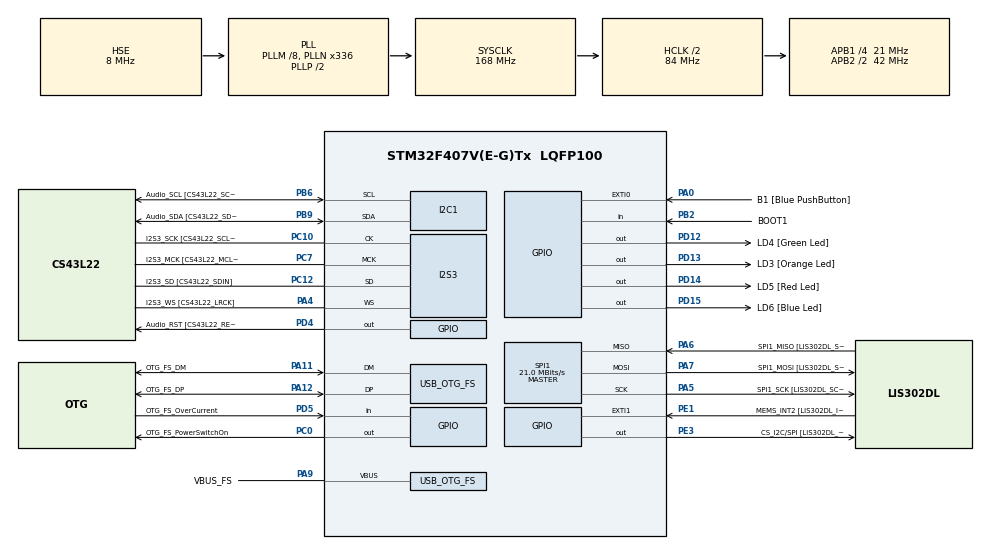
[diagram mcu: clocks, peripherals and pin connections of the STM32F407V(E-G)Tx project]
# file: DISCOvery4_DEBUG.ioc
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I2S3.AudioFreq-Half_Duplex_Master=I2S_AUDIOFREQ_96K
I2S3.ErrorAudioFreq=-2.34 %
I2S3.ErrorAudioFreq-Half_Duplex_Master=0.8 %
I2S3.FullDuplexMode=I2S_FULLDUPLEXMODE_DISABLE
I2S3.Instance=SPI$Index
I2S3.RealAudioFreq=93.75 KHz
I2S3.RealAudioFreq-Half_Duplex_Master=96.774 KHz
I2S3.VirtualMode=I2S_MODE_MASTER
Mcu.Family=STM32F4
Mcu.Name=STM32F407V(E-G)Tx
Mcu.Package=LQFP100
NVIC.OTG_FS_IRQn=true\:0\:0\:false\:false\:true\:true\:true\:true
NVIC.PriorityGroup=NVIC_PRIORITYGROUP_0
PA0-WKUP.GPIO_Label=B1 [Blue PushButton]
PA0-WKUP.GPIO_ModeDefaultEXTI=GPIO_MODE_EVT_RISING
PA0-WKUP.GPIO_PuPd=GPIO_PULLDOWN
PA0-WKUP.Signal=GPXTI0
PA10.GPIO_Label=OTG_FS_ID
PA10.GPIO_Mode=GPIO_MODE_AF_PP
PA10.GPIO_PuPd=GPIO_NOPULL
PA10.GPIO_Speed=GPIO_SPEED_FREQ_LOW
PA10.Signal=USB_OTG_FS_ID
PA11.GPIO_Label=OTG_FS_DM
PA11.GPIO_Mode=GPIO_MODE_AF_PP
PA11.GPIO_PuPd=GPIO_NOPULL
PA11.GPIO_Speed=GPIO_SPEED_FREQ_LOW
PA11.Mode=Host_Only
PA11.Signal=USB_OTG_FS_DM
PA12.GPIO_Label=OTG_FS_DP
PA12.GPIO_Mode=GPIO_MODE_AF_PP
PA12.GPIO_PuPd=GPIO_NOPULL
PA12.GPIO_Speed=GPIO_SPEED_FREQ_LOW
PA12.Mode=Host_Only
PA12.Signal=USB_OTG_FS_DP
PA13.GPIO_Label=SWDIO
PA13.Mode=Serial_Wire
PA13.Signal=SYS_JTMS-SWDIO
PA14.GPIO_Label=SWCLK
PA14.Mode=Serial_Wire
PA14.Signal=SYS_JTCK-SWCLK
PA4.GPIO_Label=I2S3_WS [CS43L22_LRCK]
PA4.GPIO_Mode=GPIO_MODE_AF_PP
PA4.GPIO_PuPd=GPIO_NOPULL
PA4.GPIO_Speed=GPIO_SPEED_FREQ_LOW
PA4.Mode=Half_Duplex_Master
PA4.Signal=I2S3_WS
PA5.GPIO_Label=SPI1_SCK [LIS302DL_SCL/SPC]
PA5.GPIO_Mode=GPIO_MODE_AF_PP
PA5.GPIO_PuPd=GPIO_NOPULL
PA5.GPIO_Speed=GPIO_SPEED_FREQ_LOW
PA5.Mode=Full_Duplex_Master
PA5.Signal=SPI1_SCK
PA6.GPIO_Label=SPI1_MISO [LIS302DL_SDO]
PA6.GPIO_Mode=GPIO_MODE_AF_PP
PA6.GPIO_PuPd=GPIO_NOPULL
PA6.GPIO_Speed=GPIO_SPEED_FREQ_LOW
PA6.Mode=Full_Duplex_Master
PA6.Signal=SPI1_MISO
PA7.GPIO_Label=SPI1_MOSI [LIS302DL_SDA/SDI/SDO]
PA7.GPIO_Mode=GPIO_MODE_AF_PP
PA7.GPIO_PuPd=GPIO_NOPULL
PA7.GPIO_Speed=GPIO_SPEED_FREQ_LOW
PA7.Mode=Full_Duplex_Master
PA7.Signal=SPI1_MOSI
PA9.GPIO_Label=VBUS_FS
PA9.GPIO_Mode=GPIO_MODE_INPUT
PA9.GPIO_PuPd=GPIO_NOPULL
PA9.Mode=Activate_VBUS
PA9.Signal=USB_OTG_FS_VBUS
PB10.GPIO_Label=CLK_IN [MP45DT02_CLK]
PB10.GPIO_Mode=GPIO_MODE_AF_PP
PB10.GPIO_PuPd=GPIO_NOPULL
PB10.GPIO_Speed=GPIO_SPEED_FREQ_LOW
PB10.Signal=I2S2_CK
PB2.GPIO_Label=BOOT1
PB2.GPIO_Mode=GPIO_MODE_INPUT
PB2.GPIO_PuPd=GPIO_NOPULL
PB2.Signal=GPIO_Input
PB3.GPIO_Label=SWO
PB3.Signal=SYS_JTDO-SWO
PB6.GPIO_Label=Audio_SCL [CS43L22_SCL]
PB6.GPIO_Mode=GPIO_MODE_AF_OD
PB6.GPIO_Pu=GPIO_PULLUP
PB6.GPIO_PuPd=GPIO_NOPULL
PB6.GPIO_Speed=GPIO_SPEED_FREQ_LOW
PB6.Mode=I2C
PB6.Signal=I2C1_SCL
PB9.GPIO_Label=Audio_SDA [CS43L22_SDA]
PB9.GPIO_Mode=GPIO_MODE_AF_OD
PB9.GPIO_Pu=GPIO_PULLUP
PB9.GPIO_PuPd=GPIO_NOPULL
PB9.GPIO_Speed=GPIO_SPEED_FREQ_LOW
PB9.Mode=I2C
PB9.Signal=I2C1_SDA
PC0.GPIO_Label=OTG_FS_PowerSwitchOn
PC0.GPIO_PuPd=GPIO_NOPULL
PC0.GPIO_Speed=GPIO_SPEED_FREQ_LOW
PC0.PinState=GPIO_PIN_SET
PC0.Signal=GPIO_Output
PC10.GPIO_Label=I2S3_SCK [CS43L22_SCLK]
PC10.GPIO_Mode=GPIO_MODE_AF_PP
PC10.GPIO_PuPd=GPIO_NOPULL
PC10.GPIO_Speed=GPIO_SPEED_FREQ_LOW
PC10.Mode=Half_Duplex_Master
PC10.Signal=I2S3_CK
PC12.GPIO_Label=I2S3_SD [CS43L22_SDIN]
PC12.GPIO_Mode=GPIO_MODE_AF_PP
PC12.GPIO_PuPd=GPIO_NOPULL
PC12.GPIO_Speed=GPIO_SPEED_FREQ_LOW
PC12.Mode=Half_Duplex_Master
PC12.Signal=I2S3_SD
PC14-OSC32_IN.GPIO_Label=PC14-OSC32_IN
PC14-OSC32_IN.Mode=LSE-External-Oscillator
PC14-OSC32_IN.Signal=RCC_OSC32_IN
PC15-OSC32_OUT.GPIO_Label=PC15-OSC32_OUT
PC15-OSC32_OUT.Mode=LSE-External-Oscillator
PC15-OSC32_OUT.Signal=RCC_OSC32_OUT
PC3.GPIO_Label=PDM_OUT [MP45DT02_DOUT]
PC3.GPIO_Mode=GPIO_MODE_AF_PP
PC3.GPIO_PuPd=GPIO_NOPULL
PC3.GPIO_Speed=GPIO_SPEED_FREQ_LOW
PC3.Signal=I2S2_SD
PC7.GPIO_Label=I2S3_MCK [CS43L22_MCLK]
PC7.GPIO_Mode=GPIO_MODE_AF_PP
PC7.GPIO_PuPd=GPIO_NOPULL
PC7.GPIO_Speed=GPIO_SPEED_FREQ_LOW
PC7.Mode=Master_Clock_Activated
PC7.Signal=I2S3_MCK
PD12.GPIO_Label=LD4 [Green Led]
PD12.GPIO_PuPd=GPIO_NOPULL
PD12.GPIO_Speed=GPIO_SPEED_FREQ_LOW
PD12.Signal=GPIO_Output
PD13.GPIO_Label=LD3 [Orange Led]
PD13.GPIO_PuPd=GPIO_NOPULL
PD13.GPIO_Speed=GPIO_SPEED_FREQ_LOW
PD13.Signal=GPIO_Output
PD14.GPIO_Label=LD5 [Red Led]
PD14.GPIO_PuPd=GPIO_NOPULL
PD14.GPIO_Speed=GPIO_SPEED_FREQ_LOW
PD14.Signal=GPIO_Output
PD15.GPIO_Label=LD6 [Blue Led]
PD15.GPIO_PuPd=GPIO_NOPULL
PD15.GPIO_Speed=GPIO_SPEED_FREQ_LOW
PD15.Signal=GPIO_Output
PD4.GPIO_Label=Audio_RST [CS43L22_RESET]
PD4.GPIO_PuPd=GPIO_NOPULL
PD4.GPIO_Speed=GPIO_SPEED_FREQ_LOW
PD4.Signal=GPIO_Output
PD5.GPIO_Label=OTG_FS_OverCurrent
PD5.GPIO_Mode=GPIO_MODE_INPUT
PD5.GPIO_PuPd=GPIO_NOPULL
PD5.Signal=GPIO_Input
PE1.GPIO_Label=MEMS_INT2 [LIS302DL_INT2]
PE1.GPIO_ModeDefaultEXTI=GPIO_MODE_EVT_RISING
PE1.GPIO_PuPd=GPIO_NOPULL
PE1.Signal=GPXTI1
PE3.GPIO_Label=CS_I2C/SPI [LIS302DL_CS_I2C/SPI]
PE3.GPIO_PuPd=GPIO_NOPULL
PE3.GPIO_Speed=GPIO_SPEED_FREQ_LOW
PE3.Signal=GPIO_Output
PH0-OSC_IN.GPIO_Label=PH0-OSC_IN
PH0-OSC_IN.Mode=HSE-External-Oscillator
PH0-OSC_IN.Signal=RCC_OSC_IN
PH1-OSC_OUT.GPIO_Label=PH1-OSC_OUT
PH1-OSC_OUT.Mode=HSE-External-Oscillator
PH1-OSC_OUT.Signal=RCC_OSC_OUT
ProjectManager.HeapSize=0x200
ProjectManager.StackSize=0x400
ProjectManager.TargetToolchain=STM32CubeIDE
RCC.48MHZClocksFreq_Value=48000000
RCC.AHBCLKDivider=RCC_SYSCLK_DIV2
RCC.AHBFreq_Value=84000000
RCC.APB1CLKDivider=RCC_HCLK_DIV4
RCC.APB1Freq_Value=21000000
RCC.APB1TimFreq_Value=42000000
RCC.APB2CLKDivider=RCC_HCLK_DIV2
RCC.APB2Freq_Value=42000000
RCC.APB2TimFreq_Value=84000000
RCC.CortexFreq_Value=84000000
RCC.HCLKFreq_Value=84000000
RCC.HSE_VALUE=8000000
RCC.HSI_VALUE=16000000
RCC.PLLM=8
RCC.PLLN=336
RCC.PLLQ=7
RCC.SYSCLKFreq_VALUE=168000000
RCC.SYSCLKSource=RCC_SYSCLKSOURCE_PLLCLK
RCC.VCOOutputFreq_Value=336000000
SPI1.BaudRatePrescaler-Full_Duplex_Master=SPI_BAUDRATEPRESCALER_2
SPI1.CalculateBaudRate=21.0 MBits/s
SPI1.CalculateBaudRate-Full_Duplex_Master=42.0 MBits/s
SPI1.Direction=SPI_DIRECTION_2LINES
SPI1.Mode=SPI_MODE_MASTER
SPI1.Mode-Full_Duplex_Master=SPI_MODE_MASTER
SPI1.VirtualType=VM_MASTER
USB_HOST.BSP.number=1
USB_HOST.USBH_HandleTypeDef-CDC_FS=hUsbHostFS
USB_HOST.VirtualModeFS=Cdc
USB_HOST0.BSP.STBoard=false
USB_HOST0.BSP.api=Unknown
USB_HOST0.BSP.instance=PC0
USB_HOST0.BSP.ip=GPIO
USB_HOST0.BSP.mode=Output
USB_HOST0.BSP.name=Drive_VBUS_FS
USB_HOST0.BSP.solution=PC0
USB_OTG_FS.VirtualMode=Host_Only
USB_OTG_FS.phy_itface=HCD_PHY_EMBEDDED
VP_USB_HOST_VS_USB_HOST_CDC_FS.Mode=CDC_FS
board=STM32F407G-DISC1

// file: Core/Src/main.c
/* USER CODE BEGIN Header */
/**
  ******************************************************************************
  * @file           : main.c
  * @brief          : Main program body
  ******************************************************************************
  * @attention
  *
  * Copyright (c) 2023 STMicroelectronics.
  * All rights reserved.
  *
  * This software is licensed under terms that can be found in the LICENSE file
  * in the root directory of this software component.
  * If no LICENSE file comes with this software, it is provided AS-IS.
  *
  ******************************************************************************
  */
/* USER CODE END Header */
#include "main.h"
#include "usb_host.h"

/* USER CODE BEGIN Includes */
#include "stdio.h"
/* USER CODE END Includes */

I2C_HandleTypeDef hi2c1;

I2S_HandleTypeDef hi2s3;

SPI_HandleTypeDef hspi1;

void SystemClock_Config(void);
static void MX_GPIO_Init(void);
static void MX_I2C1_Init(void);
static void MX_I2S3_Init(void);
static void MX_SPI1_Init(void);
void MX_USB_HOST_Process(void);

/* USER CODE BEGIN 0 */
int counter = 0;
int led_status = 0;
int button_status = 0;
int _write(int file, char *ptr, int len){
	int i = 0;
	for(i=0 ; i<len ; i++)
		ITM_SendChar((*ptr++));
	return len;
}

/* USER CODE END 0 */

int main(void)
{

  /* MCU Configuration--------------------------------------------------------*/

  /* Reset of all peripherals, Initializes the Flash interface and the Systick. */
  HAL_Init();

  /* Configure the system clock */
  SystemClock_Config();

  /* Initialize all configured peripherals */
  MX_GPIO_Init();
  MX_I2C1_Init();
  MX_I2S3_Init();
  MX_SPI1_Init();
  MX_USB_HOST_Init();

  /* Infinite loop */
  /* USER CODE BEGIN WHILE */
  while (1)
  {
	  counter++;
	  HAL_GPIO_TogglePin(LD4_GPIO_Port, LD4_Pin);
	  printf("Counter : %d \n", counter);
	  led_status = HAL_GPIO_ReadPin(LD4_GPIO_Port, LD4_Pin);
	  if(led_status)
		  printf("led on \n");
	  else
		  printf("led off \n");

	  button_status = HAL_GPIO_ReadPin(B1_GPIO_Port, B1_Pin);
	  if(button_status)
		  printf("button pushed\n");
	  else
		  printf("Button not pressed\n");

	  HAL_Delay(1000);

	  if(counter > 30 ){
		  counter = 2 ;
	  }

    /* USER CODE END WHILE */
    MX_USB_HOST_Process();

  }
}

void SystemClock_Config(void)
{
  RCC_OscInitTypeDef RCC_OscInitStruct = {0};
  RCC_ClkInitTypeDef RCC_ClkInitStruct = {0};

  /** Configure the main internal regulator output voltage
  */
  __HAL_RCC_PWR_CLK_ENABLE();
  __HAL_PWR_VOLTAGESCALING_CONFIG(PWR_REGULATOR_VOLTAGE_SCALE1);

  /** Initializes the RCC Oscillators according to the specified parameters
  * in the RCC_OscInitTypeDef structure.
  */
  RCC_OscInitStruct.OscillatorType = RCC_OSCILLATORTYPE_HSE;
  RCC_OscInitStruct.HSEState = RCC_HSE_ON;
  RCC_OscInitStruct.PLL.PLLState = RCC_PLL_ON;
  RCC_OscInitStruct.PLL.PLLSource = RCC_PLLSOURCE_HSE;
  RCC_OscInitStruct.PLL.PLLM = 8;
  RCC_OscInitStruct.PLL.PLLN = 336;
  RCC_OscInitStruct.PLL.PLLP = RCC_PLLP_DIV2;
  RCC_OscInitStruct.PLL.PLLQ = 7;
  if (HAL_RCC_OscConfig(&RCC_OscInitStruct) != HAL_OK)
  {
    Error_Handler();
  }

  /** Initializes the CPU, AHB and APB buses clocks
  */
  RCC_ClkInitStruct.ClockType = RCC_CLOCKTYPE_HCLK|RCC_CLOCKTYPE_SYSCLK
                              |RCC_CLOCKTYPE_PCLK1|RCC_CLOCKTYPE_PCLK2;
  RCC_ClkInitStruct.SYSCLKSource = RCC_SYSCLKSOURCE_PLLCLK;
  RCC_ClkInitStruct.AHBCLKDivider = RCC_SYSCLK_DIV2;
  RCC_ClkInitStruct.APB1CLKDivider = RCC_HCLK_DIV4;
  RCC_ClkInitStruct.APB2CLKDivider = RCC_HCLK_DIV2;

  if (HAL_RCC_ClockConfig(&RCC_ClkInitStruct, FLASH_LATENCY_2) != HAL_OK)
  {
    Error_Handler();
  }
}

static void MX_I2C1_Init(void)
{

  hi2c1.Instance = I2C1;
  hi2c1.Init.ClockSpeed = 100000;
  hi2c1.Init.DutyCycle = I2C_DUTYCYCLE_2;
  hi2c1.Init.OwnAddress1 = 0;
  hi2c1.Init.AddressingMode = I2C_ADDRESSINGMODE_7BIT;
  hi2c1.Init.DualAddressMode = I2C_DUALADDRESS_DISABLE;
  hi2c1.Init.OwnAddress2 = 0;
  hi2c1.Init.GeneralCallMode = I2C_GENERALCALL_DISABLE;
  hi2c1.Init.NoStretchMode = I2C_NOSTRETCH_DISABLE;
  if (HAL_I2C_Init(&hi2c1) != HAL_OK)
  {
    Error_Handler();
  }

}

static void MX_I2S3_Init(void)
{

  hi2s3.Instance = SPI3;
  hi2s3.Init.Mode = I2S_MODE_MASTER_TX;
  hi2s3.Init.Standard = I2S_STANDARD_PHILIPS;
  hi2s3.Init.DataFormat = I2S_DATAFORMAT_16B;
  hi2s3.Init.MCLKOutput = I2S_MCLKOUTPUT_ENABLE;
  hi2s3.Init.AudioFreq = I2S_AUDIOFREQ_96K;
  hi2s3.Init.CPOL = I2S_CPOL_LOW;
  hi2s3.Init.ClockSource = I2S_CLOCK_PLL;
  hi2s3.Init.FullDuplexMode = I2S_FULLDUPLEXMODE_DISABLE;
  if (HAL_I2S_Init(&hi2s3) != HAL_OK)
  {
    Error_Handler();
  }

}

static void MX_SPI1_Init(void)
{

  /* SPI1 parameter configuration*/
  hspi1.Instance = SPI1;
  hspi1.Init.Mode = SPI_MODE_MASTER;
  hspi1.Init.Direction = SPI_DIRECTION_2LINES;
  hspi1.Init.DataSize = SPI_DATASIZE_8BIT;
  hspi1.Init.CLKPolarity = SPI_POLARITY_LOW;
  hspi1.Init.CLKPhase = SPI_PHASE_1EDGE;
  hspi1.Init.NSS = SPI_NSS_SOFT;
  hspi1.Init.BaudRatePrescaler = SPI_BAUDRATEPRESCALER_2;
  hspi1.Init.FirstBit = SPI_FIRSTBIT_MSB;
  hspi1.Init.TIMode = SPI_TIMODE_DISABLE;
  hspi1.Init.CRCCalculation = SPI_CRCCALCULATION_DISABLE;
  hspi1.Init.CRCPolynomial = 10;
  if (HAL_SPI_Init(&hspi1) != HAL_OK)
  {
    Error_Handler();
  }

}

static void MX_GPIO_Init(void)
{
  GPIO_InitTypeDef GPIO_InitStruct = {0};

  /* GPIO Ports Clock Enable */
  __HAL_RCC_GPIOE_CLK_ENABLE();
  __HAL_RCC_GPIOC_CLK_ENABLE();
  __HAL_RCC_GPIOH_CLK_ENABLE();
  __HAL_RCC_GPIOA_CLK_ENABLE();
  __HAL_RCC_GPIOB_CLK_ENABLE();
  __HAL_RCC_GPIOD_CLK_ENABLE();

  /*Configure GPIO pin Output Level */
  HAL_GPIO_WritePin(CS_I2C_SPI_GPIO_Port, CS_I2C_SPI_Pin, GPIO_PIN_RESET);

  /*Configure GPIO pin Output Level */
  HAL_GPIO_WritePin(OTG_FS_PowerSwitchOn_GPIO_Port, OTG_FS_PowerSwitchOn_Pin, GPIO_PIN_SET);

  /*Configure GPIO pin Output Level */
  HAL_GPIO_WritePin(GPIOD, LD4_Pin|LD3_Pin|LD5_Pin|LD6_Pin
                          |Audio_RST_Pin, GPIO_PIN_RESET);

  /*Configure GPIO pin : CS_I2C_SPI_Pin */
  GPIO_InitStruct.Pin = CS_I2C_SPI_Pin;
  GPIO_InitStruct.Mode = GPIO_MODE_OUTPUT_PP;
  GPIO_InitStruct.Pull = GPIO_NOPULL;
  GPIO_InitStruct.Speed = GPIO_SPEED_FREQ_LOW;
  HAL_GPIO_Init(CS_I2C_SPI_GPIO_Port, &GPIO_InitStruct);

  /*Configure GPIO pin : OTG_FS_PowerSwitchOn_Pin */
  GPIO_InitStruct.Pin = OTG_FS_PowerSwitchOn_Pin;
  GPIO_InitStruct.Mode = GPIO_MODE_OUTPUT_PP;
  GPIO_InitStruct.Pull = GPIO_NOPULL;
  GPIO_InitStruct.Speed = GPIO_SPEED_FREQ_LOW;
  HAL_GPIO_Init(OTG_FS_PowerSwitchOn_GPIO_Port, &GPIO_InitStruct);

  /*Configure GPIO pin : PDM_OUT_Pin */
  GPIO_InitStruct.Pin = PDM_OUT_Pin;
  GPIO_InitStruct.Mode = GPIO_MODE_AF_PP;
  GPIO_InitStruct.Pull = GPIO_NOPULL;
  GPIO_InitStruct.Speed = GPIO_SPEED_FREQ_LOW;
  GPIO_InitStruct.Alternate = GPIO_AF5_SPI2;
  HAL_GPIO_Init(PDM_OUT_GPIO_Port, &GPIO_InitStruct);

  /*Configure GPIO pin : B1_Pin */
  GPIO_InitStruct.Pin = B1_Pin;
  GPIO_InitStruct.Mode = GPIO_MODE_EVT_RISING;
  GPIO_InitStruct.Pull = GPIO_PULLDOWN;
  HAL_GPIO_Init(B1_GPIO_Port, &GPIO_InitStruct);

  /*Configure GPIO pin : BOOT1_Pin */
  GPIO_InitStruct.Pin = BOOT1_Pin;
  GPIO_InitStruct.Mode = GPIO_MODE_INPUT;
  GPIO_InitStruct.Pull = GPIO_NOPULL;
  HAL_GPIO_Init(BOOT1_GPIO_Port, &GPIO_InitStruct);

  /*Configure GPIO pin : CLK_IN_Pin */
  GPIO_InitStruct.Pin = CLK_IN_Pin;
  GPIO_InitStruct.Mode = GPIO_MODE_AF_PP;
  GPIO_InitStruct.Pull = GPIO_NOPULL;
  GPIO_InitStruct.Speed = GPIO_SPEED_FREQ_LOW;
  GPIO_InitStruct.Alternate = GPIO_AF5_SPI2;
  HAL_GPIO_Init(CLK_IN_GPIO_Port, &GPIO_InitStruct);

  /*Configure GPIO pins : LD4_Pin LD3_Pin LD5_Pin LD6_Pin
                           Audio_RST_Pin */
  GPIO_InitStruct.Pin = LD4_Pin|LD3_Pin|LD5_Pin|LD6_Pin
                          |Audio_RST_Pin;
  GPIO_InitStruct.Mode = GPIO_MODE_OUTPUT_PP;
  GPIO_InitStruct.Pull = GPIO_NOPULL;
  GPIO_InitStruct.Speed = GPIO_SPEED_FREQ_LOW;
  HAL_GPIO_Init(GPIOD, &GPIO_InitStruct);

  /*Configure GPIO pin : OTG_FS_OverCurrent_Pin */
  GPIO_InitStruct.Pin = OTG_FS_OverCurrent_Pin;
  GPIO_InitStruct.Mode = GPIO_MODE_INPUT;
  GPIO_InitStruct.Pull = GPIO_NOPULL;
  HAL_GPIO_Init(OTG_FS_OverCurrent_GPIO_Port, &GPIO_InitStruct);

  /*Configure GPIO pin : MEMS_INT2_Pin */
  GPIO_InitStruct.Pin = MEMS_INT2_Pin;
  GPIO_InitStruct.Mode = GPIO_MODE_EVT_RISING;
  GPIO_InitStruct.Pull = GPIO_NOPULL;
  HAL_GPIO_Init(MEMS_INT2_GPIO_Port, &GPIO_InitStruct);

}

void Error_Handler(void)
{
  __disable_irq();
  while (1)
  {
  }
}
